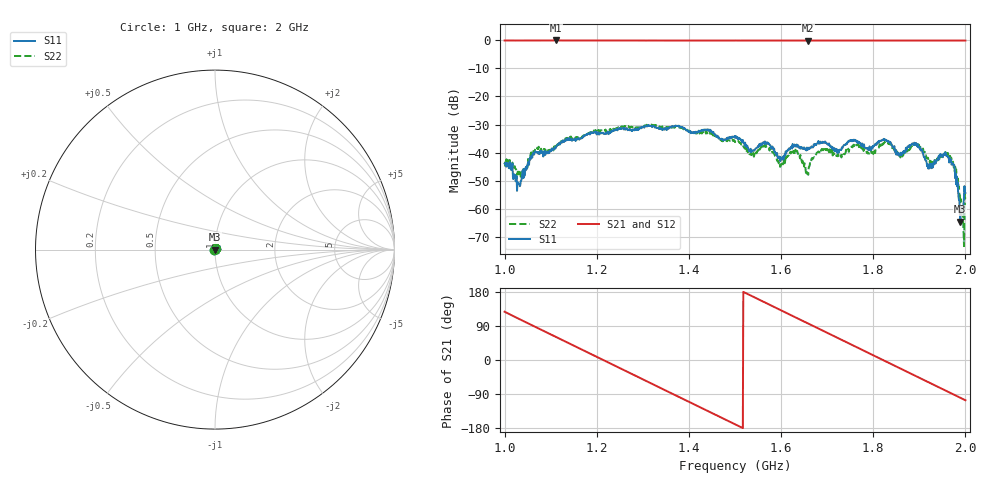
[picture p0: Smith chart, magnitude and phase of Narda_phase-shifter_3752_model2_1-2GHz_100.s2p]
#  HZ  S  DB  R  50.00
! Rohde & Schwarz Vector Network Analyzer
! Rohde-Schwarz,ZNB8-4Port,1311601044102961,2.82
! Created: UTC 1/17/2019, 2:40:57 PM
! freq[Hz]  db:S11  ang:S11  db:S21  ang:S21  db:S12  ang:S12  db:S22  ang:S22
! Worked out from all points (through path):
!   1001 points, 1 GHz to 2 GHz, reference 50 ohm
!   highest |S21| = -0.06 dB at 1.112 GHz (marker M1); lowest = -0.1 dB at 1.659 GHz (marker M2)
!   group delay of S21, straight-line fit = 1.65 ns
!   lowest |S11| = -64.5 dB at 1.989 GHz (marker M3), VSWR 1.00, Z = 50 + j0.0554 ohm
!   |S11| at or under -10 dB: start of sweep to end of sweep
!   |S22| runs from -73.3 to -29.9 dB; largest |S21 - S12| = 0.011
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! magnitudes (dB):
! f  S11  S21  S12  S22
! 1 GHz  -43.9  -0.1  -0.1  -44.0
! 1.032 GHz  -51.2  -0.1  -0.1  -47.8
! 1.064 GHz  -40.7  -0.1  -0.1  -40.2
! 1.112 GHz  -37.8  -0.1  -0.1  -37.9
! 1.167 GHz  -34.9  -0.1  -0.1  -34.7
! 1.334 GHz  -31.3  -0.1  -0.1  -30.4
! 1.5 GHz  -34.7  -0.1  -0.1  -36.2
! 1.535 GHz  -39.9  -0.1  -0.1  -40.8
! 1.569 GHz  -36.6  -0.1  -0.1  -37.7
! 1.599 GHz  -41.5  -0.1  -0.1  -44.7
! 1.631 GHz  -37.5  -0.1  -0.1  -38.9
! 1.659 GHz  -38.9  -0.1  -0.1  -47.9
! 1.667 GHz  -37.8  -0.1  -0.1  -41.9
! 1.834 GHz  -36.1  -0.1  -0.1  -36.4
! 1.858 GHz  -40.6  -0.1  -0.1  -40.5
! 1.894 GHz  -36.9  -0.1  -0.1  -37.2
! 1.922 GHz  -45.4  -0.1  -0.1  -43.6
! 1.959 GHz  -41.2  -0.1  -0.1  -40.7
! 1.976 GHz  -44.4  -0.1  -0.1  -45.2
! 1.989 GHz  -64.5  -0.1  -0.1  -57.9
! 1.993 GHz  -59.6  -0.1  -0.1  -61.0
! 2 GHz  -54.3  -0.1  -0.1  -56.3
